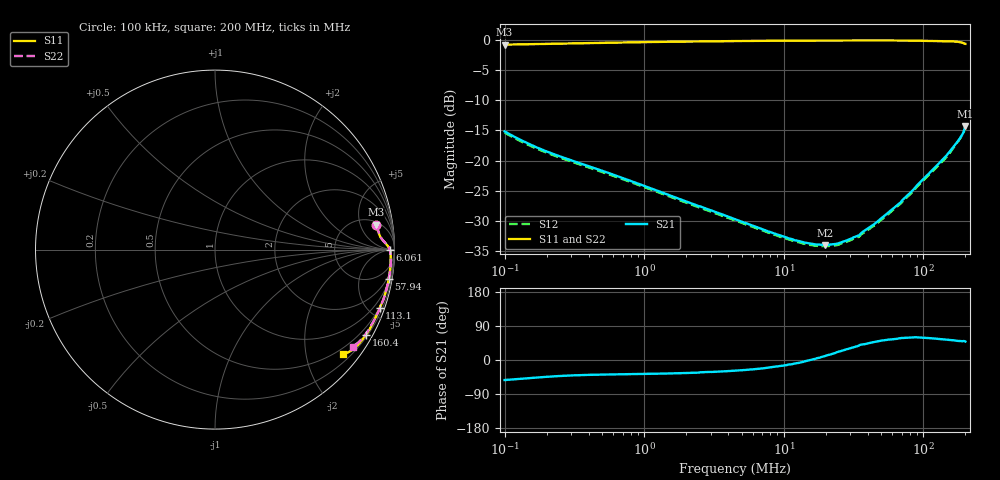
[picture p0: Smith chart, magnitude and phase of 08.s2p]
#  HZ  S  RI  R  50.00
! Rohde & Schwarz Vector Network Analyzer
! Rohde-Schwarz,ZNLE6-2Port,1323001256200024,1.71.1.10-23.02.1.238
! Created: UTC 4/8/2025, 5:39:36 AM
! freq[Hz]  re:S11  im:S11  re:S21  im:S21  re:S12  im:S12  re:S22  im:S22
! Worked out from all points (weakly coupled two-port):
!   1001 points, 100 kHz to 200 MHz, reference 50 ohm
!   highest |S21| = -14.29 dB at 200 MHz (marker M1); lowest = -33.9 dB at 19.84 MHz (marker M2)
!   lowest |S11| = -0.9 dB at 100 kHz (marker M3), VSWR 20.40, Z = 298 + j462 ohm
!   |S11| at or under -10 dB: nowhere
!   |S22| runs from -0.8 to -0.2 dB; largest |S21 - S12| = 0.0069
!   S11 on the Smith chart (normalised r, x): 100 kHz: 6, +9; 6.061 MHz: 75, -7; 57.94 MHz: 1, -12; 113.1 MHz: 0.46, -5.77; 160.4 MHz: 0.27, -3.78; 200 MHz: 0.36, -2.77
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100000  0.896 0.138  0.105 -0.1389  0.1021 -0.136  0.8989 0.135
175499.6  0.9129 0.0898  0.0879 -0.0907  0.0857 -0.0888  0.915 0.088
355854.1  0.9284 0.059  0.0723 -0.0601  0.0705 -0.0589  0.9302 0.0578
1266322  0.9551 0.0296  0.0451 -0.033  0.044 -0.0323  0.9562 0.0292
4472136  0.9712 0.00435  0.0289 -0.0155  0.028 -0.0155  0.9724 0.00631
6061166  0.9738 -0.00229  0.0262 -0.012  0.0255 -0.0119  0.9747 -0.000349
1.071849e7  0.9778 -0.0203  0.0223 -0.00494  0.0217 -0.0056  0.9782 -0.0176
1.591428e7  0.9788 -0.0373  0.0205 0.000293  0.02 1.39e-05  0.9797 -0.0339
1.983887e7  0.9793 -0.05  0.0197 0.0038  0.0194 0.00314  0.98 -0.0454
2.435817e7  0.9787 -0.0638  0.0193 0.00747  0.0188 0.00702  0.9798 -0.0586
3.37745e7  0.977 -0.0928  0.0192 0.0142  0.0188 0.0138  0.9782 -0.0858
4.373448e7  0.9743 -0.1229  0.02 0.0215  0.0203 0.0203  0.9758 -0.1131
5.663162e7  0.9684 -0.1612  0.0221 0.0303  0.0222 0.029  0.971 -0.1489
5.793781e7  0.9677 -0.1651  0.0224 0.0312  0.0224 0.0298  0.9704 -0.1525
6.745012e7  0.9619 -0.1939  0.024 0.0372  0.0249 0.0355  0.9653 -0.1788
8.537184e7  0.9476 -0.2459  0.0291 0.0501  0.0294 0.0482  0.9531 -0.2279
1.130974e8  0.9175 -0.3258  0.0436 0.0684  0.0439 0.0657  0.9285 -0.3037
1.409882e8  0.8783 -0.4115  0.0612 0.085  0.0605 0.082  0.8927 -0.3815
1.604354e8  0.8402 -0.4755  0.0761 0.0998  0.0753 0.0966  0.8627 -0.4362
1.717946e8  0.813 -0.5113  0.0875 0.1077  0.0867 0.1051  0.8401 -0.4697
1.83958e8  0.7748 -0.5497  0.0999 0.1182  0.1005 0.1157  0.8113 -0.5047
2e8  0.7143 -0.5811  0.1272 0.1452  0.1258 0.1384  0.7666 -0.5434
